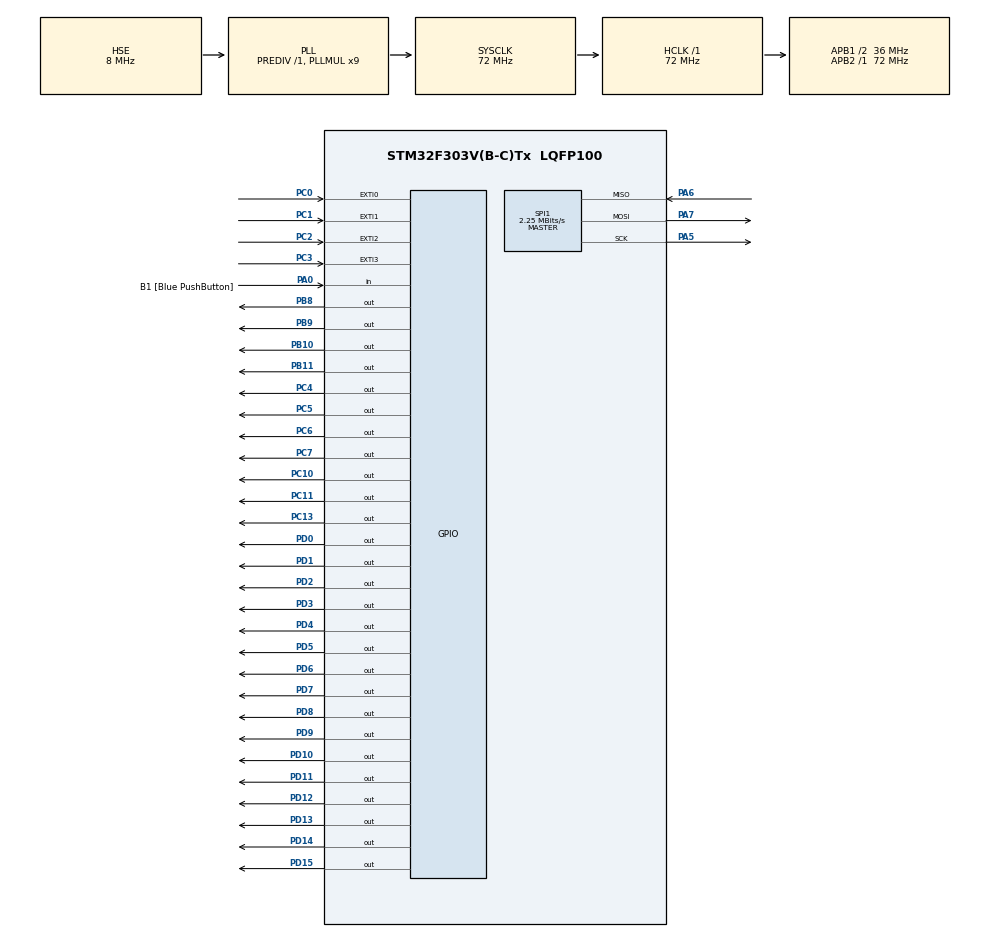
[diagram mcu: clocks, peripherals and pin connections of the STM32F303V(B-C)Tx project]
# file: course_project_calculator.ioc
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Mcu.Family=STM32F3
Mcu.Name=STM32F303V(B-C)Tx
Mcu.Package=LQFP100
NVIC.PriorityGroup=NVIC_PRIORITYGROUP_0
PA0.GPIO_Label=B1 [Blue PushButton]
PA0.Signal=GPIO_Input
PA13.GPIO_Label=SWDIO
PA13.Mode=Serial_Wire
PA13.Signal=SYS_JTMS-SWDIO
PA14.GPIO_Label=SWCLK
PA14.Mode=Serial_Wire
PA14.Signal=SYS_JTCK-SWCLK
PA5.Mode=Full_Duplex_Master
PA5.Signal=SPI1_SCK
PA6.Mode=Full_Duplex_Master
PA6.Signal=SPI1_MISO
PA7.Mode=Full_Duplex_Master
PA7.Signal=SPI1_MOSI
PB10.GPIO_Speed=GPIO_SPEED_FREQ_HIGH
PB10.PinState=GPIO_PIN_SET
PB10.Signal=GPIO_Output
PB11.GPIO_Speed=GPIO_SPEED_FREQ_HIGH
PB11.PinState=GPIO_PIN_SET
PB11.Signal=GPIO_Output
PB8.GPIO_Speed=GPIO_SPEED_FREQ_HIGH
PB8.PinState=GPIO_PIN_SET
PB8.Signal=GPIO_Output
PB9.GPIO_Speed=GPIO_SPEED_FREQ_HIGH
PB9.PinState=GPIO_PIN_SET
PB9.Signal=GPIO_Output
PC0.Signal=GPXTI0
PC1.Signal=GPXTI1
PC10.GPIO_ModeDefaultOutputPP=GPIO_MODE_OUTPUT_OD
PC10.GPIO_PuPd=GPIO_PULLUP
PC10.GPIO_Speed=GPIO_SPEED_FREQ_HIGH
PC10.PinState=GPIO_PIN_SET
PC10.Signal=GPIO_Output
PC11.GPIO_ModeDefaultOutputPP=GPIO_MODE_OUTPUT_OD
PC11.GPIO_PuPd=GPIO_PULLUP
PC11.GPIO_Speed=GPIO_SPEED_FREQ_HIGH
PC11.PinState=GPIO_PIN_SET
PC11.Signal=GPIO_Output
PC13.GPIO_ModeDefaultOutputPP=GPIO_MODE_OUTPUT_OD
PC13.GPIO_PuPd=GPIO_PULLUP
PC13.GPIO_Speed=GPIO_SPEED_FREQ_LOW
PC13.PinState=GPIO_PIN_SET
PC13.Signal=GPIO_Output
PC2.Signal=GPXTI2
PC3.Signal=GPXTI3
PC4.GPIO_Speed=GPIO_SPEED_FREQ_HIGH
PC4.PinState=GPIO_PIN_SET
PC4.Signal=GPIO_Output
PC5.GPIO_Speed=GPIO_SPEED_FREQ_HIGH
PC5.PinState=GPIO_PIN_SET
PC5.Signal=GPIO_Output
PC6.Signal=GPIO_Output
PC7.Signal=GPIO_Output
PD0.GPIO_Speed=GPIO_SPEED_FREQ_HIGH
PD0.PinState=GPIO_PIN_SET
PD0.Signal=GPIO_Output
PD1.GPIO_Speed=GPIO_SPEED_FREQ_HIGH
PD1.PinState=GPIO_PIN_SET
PD1.Signal=GPIO_Output
PD10.GPIO_Speed=GPIO_SPEED_FREQ_HIGH
PD10.PinState=GPIO_PIN_SET
PD10.Signal=GPIO_Output
PD11.GPIO_Speed=GPIO_SPEED_FREQ_HIGH
PD11.PinState=GPIO_PIN_SET
PD11.Signal=GPIO_Output
PD12.GPIO_Speed=GPIO_SPEED_FREQ_HIGH
PD12.PinState=GPIO_PIN_SET
PD12.Signal=GPIO_Output
PD13.Signal=GPIO_Output
PD14.Signal=GPIO_Output
PD15.Signal=GPIO_Output
PD2.GPIO_Speed=GPIO_SPEED_FREQ_HIGH
PD2.PinState=GPIO_PIN_SET
PD2.Signal=GPIO_Output
PD3.GPIO_Speed=GPIO_SPEED_FREQ_HIGH
PD3.PinState=GPIO_PIN_SET
PD3.Signal=GPIO_Output
PD4.GPIO_Speed=GPIO_SPEED_FREQ_HIGH
PD4.PinState=GPIO_PIN_SET
PD4.Signal=GPIO_Output
PD5.GPIO_Speed=GPIO_SPEED_FREQ_HIGH
PD5.PinState=GPIO_PIN_SET
PD5.Signal=GPIO_Output
PD6.GPIO_Speed=GPIO_SPEED_FREQ_HIGH
PD6.PinState=GPIO_PIN_SET
PD6.Signal=GPIO_Output
PD7.GPIO_Speed=GPIO_SPEED_FREQ_HIGH
PD7.PinState=GPIO_PIN_SET
PD7.Signal=GPIO_Output
PD8.GPIO_Speed=GPIO_SPEED_FREQ_HIGH
PD8.PinState=GPIO_PIN_SET
PD8.Signal=GPIO_Output
PD9.GPIO_Speed=GPIO_SPEED_FREQ_HIGH
PD9.PinState=GPIO_PIN_SET
PD9.Signal=GPIO_Output
PF0-OSC_IN.GPIO_Label=OSC_IN
PF0-OSC_IN.Mode=HSE-External-Clock-Source
PF0-OSC_IN.Signal=RCC_OSC_IN
ProjectManager.HeapSize=0x200
ProjectManager.StackSize=0x400
ProjectManager.TargetToolchain=STM32CubeIDE
RCC.AHBFreq_Value=72000000
RCC.APB1CLKDivider=RCC_HCLK_DIV2
RCC.APB1Freq_Value=36000000
RCC.APB1TimFreq_Value=72000000
RCC.APB2Freq_Value=72000000
RCC.APB2TimFreq_Value=72000000
RCC.CortexFreq_Value=72000000
RCC.HCLKFreq_Value=72000000
RCC.HSE_VALUE=8000000
RCC.HSI_VALUE=8000000
RCC.LSE_VALUE=32768
RCC.PLLMUL=RCC_PLL_MUL9
RCC.PLLSourceVirtual=RCC_PLLSOURCE_HSE
RCC.SYSCLKFreq_VALUE=72000000
RCC.SYSCLKSourceVirtual=RCC_SYSCLKSOURCE_PLLCLK
RCC.USBFreq_Value=72000000
SPI1.BaudRatePrescaler=SPI_BAUDRATEPRESCALER_32
SPI1.CalculateBaudRate=2.25 MBits/s
SPI1.DataSize=SPI_DATASIZE_8BIT
SPI1.Direction=SPI_DIRECTION_2LINES
SPI1.Mode=SPI_MODE_MASTER
SPI1.VirtualType=VM_MASTER
VP_RTC_VS_RTC_Activate.Mode=RTC_Enabled
board=STM32F3DISCOVERY

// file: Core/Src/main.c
/* USER CODE BEGIN Header */
/**
 ******************************************************************************
 * @file           : main.c
 * @brief          : Main program body
 ******************************************************************************
 * @attention
 *
 * <h2><center>&copy; Copyright (c) 2021 STMicroelectronics.
 * All rights reserved.</center></h2>
 *
 * This software component is licensed by ST under BSD 3-Clause license,
 * the "License"; You may not use this file except in compliance with the
 * License. You may obtain a copy of the License at:
 *                        opensource.org/licenses/BSD-3-Clause
 *
 ******************************************************************************
 */
/* USER CODE END Header */
#include "main.h"
#include "rtc.h"
#include "spi.h"
#include "gpio.h"

/* USER CODE BEGIN Includes */
#include "lcd_ili93xx_driver.h"
#include "open32f3_lcd_utils.h"
#include "open32f3_lcd_touch_utils.h"

#include "stdio.h"
#include "stdlib.h"
#include "stdbool.h"
#include "math.h"

#include "lvgl.h"
/* USER CODE END Includes */

/* USER CODE BEGIN PTD */

void HAL_GPIO_EXTI_Callback(uint16_t GPIO_Pin) {

}

typedef struct {
	lcd_ili93xx_driver_t *lcd_driver;
	lcd_xpt2046_driver_t *touch_driver;

	// Данные для привязки LVGL к дисплею
	size_t buf_size;
	lv_color_t *buf;
	lv_disp_buf_t disp_buf;
	lv_disp_drv_t disp_driver;
	// Объект дисплея LVGL
	lv_disp_t *disp;

	// Данные для привязки LVGL к touch сенсору
	lv_indev_drv_t indev_drv;
	lv_indev_t *indev;
	int16_t last_x_position;
	int16_t last_y_position;

// Любые пользовательские данные для пересчета данных touch сенсора в координаты дисплея.
// Если у вас нет подобных структур, можно удалить данное поле.
//    void *app_touch_data;
} app_open32f3_lvgl_driver_t;

/**
 * Колбек для передачи отрисованного интерфейса на дисплей.
 *
 * LVGL сам вызовет его, когда ему понадобиться передать данные на дисплей.
 */
static void app_open32f3_lvgl_display_flush_cb(lv_disp_drv_t *disp_drv,
		const lv_area_t *area, lv_color_t *color_p) {
	// получить app_open32f3_lvgl_driver_t объект
	app_open32f3_lvgl_driver_t *lvgl_data = disp_drv->user_data;
	// передать изображение на экран
	lcd_ili93xx_fill_area(lvgl_data->lcd_driver, area->x1, area->y1, area->x2,
			area->y2, (uint16_t*) color_p);
	// оповестить LVGL, что передача изображения на экран закончена
	lv_disp_flush_ready(disp_drv);
}

int calculate_touch_position(int x1, int x2, int x3) {
	return (x1 + x2 + x3) / 3;
}
/**
 * Колбек для получения текущих координат касания от сенсорного дисплей.
 *
 * LVGL сам вызовет его, когда ему понадобиться считать данные ввода.
 */
static bool app_open32f3_lvgl_display_touch_sensor_read_cb(
		lv_indev_drv_t *disp_drv, lv_indev_data_t *data) {
	// получить app_open32f3_lvgl_driver_t объект
	app_open32f3_lvgl_driver_t *lvgl_data = disp_drv->user_data;

	int touch_x = 0;
	int touch_y = 0;
	int touch_flag = 0;
	lcd_xpt2046_driver_t *touch_driver = lvgl_data->touch_driver;

	int x1, y1, z11, z21, x2, y2, z12, z22, x3, y3, z13, z23,
		Z1disp = 0, Z2disp = 0;

	lcd_xpt2046_measure(touch_driver, XPT2046_CMD_MEASURE_X, &x1);
	lcd_xpt2046_measure(touch_driver, XPT2046_CMD_MEASURE_Y, &y1);
	lcd_xpt2046_measure(touch_driver, XPT2046_CMD_MEASURE_Z1, &z11);
	lcd_xpt2046_measure(touch_driver, XPT2046_CMD_MEASURE_Z2, &z21);
	lcd_xpt2046_measure(touch_driver, XPT2046_CMD_MEASURE_X, &x2);
	lcd_xpt2046_measure(touch_driver, XPT2046_CMD_MEASURE_Y, &y2);
	lcd_xpt2046_measure(touch_driver, XPT2046_CMD_MEASURE_Z1, &z12);
	lcd_xpt2046_measure(touch_driver, XPT2046_CMD_MEASURE_Z2, &z22);
	lcd_xpt2046_measure(touch_driver, XPT2046_CMD_MEASURE_X, &x3);
	lcd_xpt2046_measure(touch_driver, XPT2046_CMD_MEASURE_Y, &y3);
	lcd_xpt2046_measure(touch_driver, XPT2046_CMD_MEASURE_Z1, &z13);
	lcd_xpt2046_measure(touch_driver, XPT2046_CMD_MEASURE_Z2, &z23);

	Z1disp = calculate_touch_position(z11, z12, z13);
	Z2disp = calculate_touch_position(z21, z22, z23);

	if (abs(Z1disp - Z2disp) < 3800) {				//ЕСТЬ

		touch_x = calculate_touch_position(x1, x2, x3);
		touch_y = calculate_touch_position(y1, y2, y3);
		touch_x = 0.062 * touch_x ;
		touch_y = 0.084 * touch_y ;
		if (touch_x <= 0) {
			touch_x = 0;
		}
		if (touch_x >= 240 ) {
			touch_x = 240 ;
		}
		if (touch_y <= 0) {
			touch_y = 0;
		}
		if (touch_y >= 320 ) {
			touch_y = 320 ;
		}
		touch_flag = 1;
	}

	// обработка логики устройства ввода в соответствии с LVGL
	if (touch_flag) {
		lvgl_data->last_x_position = touch_x;
		lvgl_data->last_y_position = touch_y;
	}
	data->point.x = lvgl_data->last_x_position;
	data->point.y = lvgl_data->last_y_position;
	if (touch_flag) {
		// касание дисплея обнаружено
		data->state = LV_INDEV_STATE_PR;
	} else {
		// касание дисплея не обнаружено
		data->state = LV_INDEV_STATE_REL;
	}
	return false;
}

/**
 * Функция инициализации дисплея для LVGL.
 *
 * @param lcd_driver инициализированный драйвер дисплея
 * @param touch_driver инициализированный драйвер touch сенсора
 * @param lvgl_data неинициализированные объект app_open32f3_lvgl_driver_t
 * @return 0 в случае успеха, иначе не нулевое значение
 */
int app_open32f3_lvgl_init(app_open32f3_lvgl_driver_t *lvgl_data,
		lcd_ili93xx_driver_t *lcd_driver, lcd_xpt2046_driver_t *touch_driver) {
	int err;

	//
	// Шаг 1. Базовая инициализация LVGL
	//
	lv_init();

	// базовая инициализация lvgl_data
	lvgl_data->lcd_driver = lcd_driver;
	lvgl_data->touch_driver = touch_driver;

	//
	// Шаг 2. Подключение дисплея
	//

	// получить ширину и высоту дисплея
	int16_t width;
	int16_t height;
	err = lcd_ili93xx_get_width(lcd_driver, &width);
	if (err) {
		return err;
	}
	err = lcd_ili93xx_get_height(lcd_driver, &height);
	if (err) {
		return err;
	}

	// Шаг 2.1. �?нициализация буфера отрисовки кадра
	lvgl_data->buf_size = width * 20;
	lvgl_data->buf = malloc(sizeof(lv_color_t) * lvgl_data->buf_size);
	lv_disp_buf_init(&lvgl_data->disp_buf, lvgl_data->buf, NULL, lvgl_data->buf_size);
	// Шаг 2.2. Регистрация дисплея
	lv_disp_drv_init(&lvgl_data->disp_driver);
	lvgl_data->disp_driver.hor_res = width;
	lvgl_data->disp_driver.ver_res = height;
	lvgl_data->disp_driver.buffer = &lvgl_data->disp_buf;
	lvgl_data->disp_driver.user_data = lvgl_data;
	lvgl_data->disp_driver.flush_cb = app_open32f3_lvgl_display_flush_cb;
	lvgl_data->disp = lv_disp_drv_register(&lvgl_data->disp_driver);
	if (lvgl_data->disp == NULL) {
		return -1;
	}

	//
	// Шаг 3. �?нициализация устройства ввода
	//
	lv_indev_drv_init(&lvgl_data->indev_drv);
	// Будем использовать устройство тип "POINTER"
	lvgl_data->indev_drv.type = LV_INDEV_TYPE_POINTER;
	lvgl_data->last_x_position = 0;
	lvgl_data->last_y_position = 0;
	lvgl_data->indev_drv.user_data = lvgl_data;
	lvgl_data->indev_drv.disp = lvgl_data->disp;

	// Регистрация устройства ввода
	lvgl_data->indev_drv.read_cb =
			app_open32f3_lvgl_display_touch_sensor_read_cb;
	lvgl_data->indev = lv_indev_drv_register(&lvgl_data->indev_drv);
	if (lvgl_data->indev == NULL) {
		return -1;
	}

	return 0;
}

static const char * btnm_map[] = {"AC", "MRC", "M-", "M+", "\n",
								  "7", "8", "9", "+", "\n",
                                  "4", "5", "6", "-", "\n",
								  "1", "2", "3", "*", "\n",
								  "0", ".", "=", "/", ""
                                 };

typedef struct {
	lv_style_t btn_style;
	lv_style_t kbd_style;
	lv_style_t inp_style;

	lv_obj_t* text_main;
	lv_obj_t* text_history;
	lv_obj_t* text_mem;
	lv_obj_t* btnm;

} app_scene_t;

app_scene_t app_scene;

static const short int MAX_LENGTH = 24;
static const float MIN_SCIENTIFIC_NUMBER = 1000000000.f;
//static const uint32_t MEM_ADDR = 0x08031F9C;

static short FLAGS = 0;

typedef enum {
	PLUS = 43,
	MINUS = 45,
	MUL = 42,
	DIV = 47,
	NONE = 0
} e_function;

typedef enum {
	SQ_FUN = 0,
	SQ_EQ,
	MEM_SAVE,
	ERR
} e_flags;

float read_mem()
{
	uint32_t value = HAL_RTCEx_BKUPRead(&hrtc, RTC_BKP_DR0);
	float fvalue = .0f;
	memcpy(&fvalue, &value, sizeof fvalue);
	//memcpy(&fvalue, MEM_ADDR, sizeof fvalue);
	return fvalue;
}

void write_mem(float num)
{
	HAL_PWR_EnableBkUpAccess();

	uint32_t fbits = 0;
	memcpy(&fbits, &num, sizeof fbits);
	HAL_RTCEx_BKUPWrite(&hrtc, RTC_BKP_DR0, fbits);

	HAL_PWR_DisableBkUpAccess();

	/*HAL_FLASH_Unlock();

	FLASH_EraseInitTypeDef ef;
	HAL_StatusTypeDef stat;
	ef.TypeErase = FLASH_TYPEERASE_PAGES;
	ef.PageAddress = MEM_ADDR;
	ef.NbPages = 1;
	uint32_t tmp;
	HAL_FLASHEx_Erase(&ef, &tmp);

	stat = HAL_FLASH_Program(FLASH_TYPEPROGRAM_WORD, MEM_ADDR, fbits);

	if (stat != HAL_OK)
	{
		set_flag(ERR, true);
		lv_textarea_set_text(app_scene.text_main, "ERROR: Write memory fail!");
	}

	HAL_FLASH_Lock();*/
}

bool is_char_contain(char ch, const char* str)
{
	for (int i = 0; i < strlen(str); i++)
		if (str[i] == ch)
			return true;
	return false;
}

const char* save_display(const char *text_on_disp, e_function fun) {
	char f[2] = " \0";
	f[0] = (char) fun;

	//lv_textarea_set_text(app_scene.text_main, "");
	if (strlen(text_on_disp) == 0)
	{
		char res[5] = "0.0 \0";
		res[3] = (char) fun;
		lv_textarea_set_text(app_scene.text_history, res);
		return "0";
	}
	else
	{
		lv_textarea_set_text(app_scene.text_history, strcat(strdup(text_on_disp), f));
		return text_on_disp;
	}

}

bool float_equal(float a, float b, float epsilon)
{
	return fabs(a - b) < epsilon;
}

void format_result(char* buf, float res)
{
	if (res < MIN_SCIENTIFIC_NUMBER)
		sprintf(buf, "%.5f", res);
	else
		sprintf(buf, "%G", res);
}

static inline short get_flag(e_flags bit)
{
	return (FLAGS >> bit) & 0b1;
}

void set_flag(e_flags bit, bool value)
{
	if (value)
		FLAGS |= 0b1 << bit;
	else
		FLAGS &= ~(0b1 << bit);
}

const char* eval(const char* left, const char* right, e_function fun)
{
	float left_f = atof(left);
	float right_f = atof(right);
	char buf[MAX_LENGTH];
	switch(fun)
	{
		case PLUS:
			format_result(buf, left_f + right_f);
			break;
		case MINUS:
			format_result(buf, left_f - right_f);
			break;
		case MUL:
			format_result(buf, left_f * right_f);
			break;
		case DIV:
			if (float_equal(0.f, right_f, 0.00000001f))
			{
				set_flag(ERR, true);
				strcpy(buf, "ERROR: Division by 0");
			}
			else
				format_result(buf, left_f / right_f);
			break;
		case NONE:
			strcpy(buf, right);
			break;
	}

	return strdup(buf);
}

void all_clear(e_function* fun, char **first_arg, char** text_main) {
	//free(*first_arg);
	//free(*text_main);
	lv_textarea_set_text(app_scene.text_main, "");
	lv_textarea_set_text(app_scene.text_history, "");
	//(*first_arg) = "";
	(*fun) = NONE;
}

void fun_execute(const char** first_arg, const  char* text_on_disp, e_function* fun, e_function current_operation)
{
	if (get_flag(SQ_FUN))
	{
		text_on_disp = eval(*first_arg, text_on_disp, *fun);
	}
	set_flag(SQ_FUN, true);
	set_flag(SQ_EQ, false);
	*fun = current_operation;
	*first_arg = save_display(text_on_disp, *fun);
	lv_textarea_set_text(app_scene.text_main, "");
}

void memory_operation(const char* text_on_disp, e_function operation)
{
	if (!get_flag(MEM_SAVE))
	{
		if (operation == PLUS)
			write_mem(atof(text_on_disp));
		else
			write_mem(-atof(text_on_disp));
		lv_label_set_text(app_scene.text_mem, "M");
		set_flag(MEM_SAVE, true);
	}
	else
	{
		if (operation == PLUS)
			write_mem(read_mem() + atof(text_on_disp));
		else
			write_mem(read_mem() - atof(text_on_disp));

		if (float_equal(read_mem(), 0.f, 0.0000001))
		{
			lv_label_set_text(app_scene.text_mem, "");
			set_flag(MEM_SAVE, false);
		}
	}
}

static void keyboard_event_handler(lv_obj_t * obj, lv_event_t event)
{
    if(event == LV_EVENT_VALUE_CHANGED) {
        uint16_t id = lv_btnmatrix_get_active_btn(obj);
        static uint16_t prev_id = 0;
        static char* first_arg;
        // 0 bit - sequence of functions
        // 1 bit - sequence of equality
        // 2 bit - memory first save
        // 3 bit - MRC toggle
        // 4 bit - error state
        static e_function fun = NONE;
        const char* txt = lv_btnmatrix_get_active_btn_text(obj);
        const char* text_on_disp = strdup(lv_textarea_get_text(app_scene.text_main));
        //float mem_value;
        //float dsp_value;
        /*
         * 	AC_0	MRC_1	M-_2	M+_3
         * 	7_4		8_5		9_6		+_7
         * 	4_8		5_9		6_10	-_11
         * 	1_12	2_13	3_14	*_15
         * 	0_16	._17	=_18	/_19
         *
         */
        if (get_flag(ERR))
        {
        	set_flag(ERR, false);
			all_clear(&fun, &first_arg, &text_on_disp);
        }

        switch (id)
        {
        	case 0: // AC
        		all_clear(&fun, &first_arg, &text_on_disp);
        		break;
        	case 1: // MRC
        		if (get_flag(MEM_SAVE) && prev_id == id)
        		{
        			set_flag(MEM_SAVE, false);
        			write_mem(.0f);
        			lv_label_set_text(app_scene.text_mem, "");
        		}
        		else if (get_flag(MEM_SAVE))
        		{
        			//mem_value = read_mem();
        			//format_result(text_on_disp, mem_value);
        			format_result(text_on_disp, read_mem());
        			lv_textarea_set_text(app_scene.text_main, text_on_disp);
        		}
        		break;
        	case 2: // M-
        		memory_operation(text_on_disp, MINUS);
        		break;
        	case 3: // M+
        		memory_operation(text_on_disp, PLUS);
        		break;

        	case 7: // +
        		fun_execute(&first_arg, text_on_disp, &fun, PLUS);
        		break;
        	case 11: // -
        		fun_execute(&first_arg, text_on_disp, &fun, MINUS);
        		break;
        	case 15: // *
        		fun_execute(&first_arg, text_on_disp, &fun, MUL);
        		break;
        	case 19: // /
        		fun_execute(&first_arg, text_on_disp, &fun, DIV);
        		break;

        	case 17: // .
        		if (strlen(text_on_disp) == 0)
        			lv_textarea_set_text(app_scene.text_main, "0.");
        		else if (!is_char_contain('.', text_on_disp))
        			lv_textarea_add_text(app_scene.text_main, txt);
        	    break;

        	case 18: // =
        		if (get_flag(SQ_FUN))
        		{
        			lv_textarea_set_text(app_scene.text_main, eval(first_arg, text_on_disp, fun));
        			if (fun != MUL)
						first_arg = strdup(text_on_disp);
        			save_display(first_arg, fun);
            		set_flag(SQ_FUN, false);
            		set_flag(SQ_EQ, true);
        		}
        		else if (get_flag(SQ_EQ))
				{
        			if (fun == MUL)
        				lv_textarea_set_text(app_scene.text_main, eval(first_arg, text_on_disp, fun));
        			else
        				lv_textarea_set_text(app_scene.text_main, eval(text_on_disp, first_arg, fun));
				}
        		break;

        	case 4:
        	case 5:
        	case 6:
        	case 8:
        	case 9:
        	case 10:
        	case 12:
        	case 13:
        	case 14:
        	case 16:
        		lv_textarea_add_text(app_scene.text_main, txt);
        		break;
        }
        prev_id = id;
        //free(text_on_disp);
    }
}

/**
 * Создание и настройка виджетов интерфейса
 *
 * @param app_scene неинициализированный объект app_scene_t
 * @param scr объект экрана
 * @return 0 в случае успеха, иначе не нулевое значение
 */
int app_scene_init(app_scene_t *app_scene, lv_obj_t *screen) {

	//docs.lvgl.io/7.11/overview/style.html
	lv_obj_set_style_local_bg_color(screen, LV_OBJ_PART_MAIN, LV_STATE_DEFAULT, LV_COLOR_PURPLE);
	lv_style_init(&app_scene->btn_style);
	lv_style_init(&app_scene->kbd_style);
	lv_style_init(&app_scene->inp_style);

	// Стили кнопок клавиатуры
	lv_style_set_bg_color(&app_scene->btn_style, LV_STATE_DEFAULT, lv_color_hex(0xf777f7));
	lv_style_set_bg_color(&app_scene->btn_style, LV_STATE_PRESSED, lv_color_hex(0xedcaed));
	lv_style_set_text_font(&app_scene->btn_style, LV_STATE_DEFAULT, LV_THEME_DEFAULT_FONT_TITLE);
	lv_style_set_text_font(&app_scene->btn_style, LV_STATE_PRESSED, LV_THEME_DEFAULT_FONT_TITLE);

	// Стиль клавиатуры
	lv_style_set_bg_color(&app_scene->kbd_style, LV_STATE_DEFAULT, LV_COLOR_PURPLE);
	lv_style_set_bg_color(&app_scene->kbd_style, LV_STATE_PRESSED, LV_COLOR_PURPLE);
	lv_style_set_bg_color(&app_scene->kbd_style, LV_STATE_FOCUSED, LV_COLOR_PURPLE);
	lv_style_set_border_width(&app_scene->kbd_style, LV_STATE_DEFAULT, 0);
	lv_style_set_border_width(&app_scene->kbd_style, LV_STATE_FOCUSED, 0);

	// Стиль клавиатуры
	lv_style_set_bg_color(&app_scene->inp_style, LV_STATE_DEFAULT, lv_color_hex(0xf777f7));
	lv_style_set_bg_color(&app_scene->inp_style, LV_STATE_PRESSED, lv_color_hex(0xf777f7));
	lv_style_set_bg_color(&app_scene->inp_style, LV_STATE_FOCUSED, lv_color_hex(0xf777f7));
	lv_style_set_border_width(&app_scene->inp_style, LV_STATE_DEFAULT, 0);
	lv_style_set_border_width(&app_scene->inp_style, LV_STATE_FOCUSED, 0);
	lv_style_set_clip_corner(&app_scene->inp_style, LV_STATE_DEFAULT, false);

	//https://docs.lvgl.io/7.11/widgets/btnmatrix.html
	// �?нициализация кнопок
	app_scene->btnm = lv_btnmatrix_create(screen, NULL);
    lv_btnmatrix_set_map(app_scene->btnm, btnm_map);
    lv_obj_set_size(app_scene->btnm, 240, 240);
    lv_obj_add_style(app_scene->btnm, LV_BTNMATRIX_PART_BTN, &app_scene->btn_style);
    lv_obj_add_style(app_scene->btnm, LV_BTNMATRIX_PART_BG, &app_scene->kbd_style);
    lv_obj_align(app_scene->btnm, NULL, LV_ALIGN_IN_BOTTOM_MID, 0, 0);
    lv_obj_set_event_cb(app_scene->btnm, keyboard_event_handler);

    //https://docs.lvgl.io/master/widgets/textarea.html
    // �?нициализация текста
    app_scene->text_history = lv_textarea_create(screen, NULL);
    lv_textarea_set_one_line(app_scene->text_history, true);
    lv_obj_set_size(app_scene->text_history, 230, 15);
    lv_textarea_set_text(app_scene->text_history, "");
    lv_textarea_set_cursor_hidden(app_scene->text_history, true);
    lv_obj_align(app_scene->text_history, NULL, LV_ALIGN_IN_TOP_LEFT, 5, 5);
    lv_obj_add_style(app_scene->text_history, LV_TEXTAREA_PART_BG, &app_scene->inp_style);
    lv_textarea_set_text_align(app_scene->text_history, LV_LABEL_ALIGN_RIGHT);

    app_scene->text_main = lv_textarea_create(screen, NULL);
    lv_textarea_set_max_length(app_scene->text_main, MAX_LENGTH);
    lv_textarea_set_one_line(app_scene->text_main, true);
    lv_obj_set_size(app_scene->text_main, 230, 30);
    lv_textarea_set_text(app_scene->text_main, "");
    lv_textarea_set_cursor_hidden(app_scene->text_main, true);
    lv_obj_align(app_scene->text_main, app_scene->text_history, LV_ALIGN_OUT_BOTTOM_LEFT, 0, 0);
    lv_obj_add_style(app_scene->text_main, LV_TEXTAREA_PART_BG, &app_scene->inp_style);
    lv_textarea_set_text_align(app_scene->text_main, LV_LABEL_ALIGN_RIGHT);

    //Проверка памяти
    float mem_val = read_mem();

    app_scene->text_mem = lv_label_create(screen, NULL);
    lv_label_set_recolor(app_scene->text_mem, true);
    lv_label_set_align(app_scene->text_mem, LV_LABEL_ALIGN_LEFT);
    lv_obj_set_width(app_scene->text_mem, 50);
    lv_obj_align(app_scene->text_mem, NULL, LV_ALIGN_IN_TOP_LEFT, 5, 5);
    if (!float_equal(0.f, mem_val, 0.0000001f))
    {
    	set_flag(MEM_SAVE, true);
    	lv_label_set_text(app_scene->text_mem, "M");
    }
    else
    {
    	lv_label_set_text(app_scene->text_mem, "");
    }

	return 0;
}

/* USER CODE END PTD */

/* USER CODE BEGIN PV */

/**
 * GNUC specific stdout/stderr hooks.
 *
 * @note: other compilers have other stdout/stderr hooks.
 */
#ifndef __GNUC__
#error Unknown compilator
#else
/*#include <unistd.h>
int _write(int fd, const void *buf, size_t count) {
	int res = 0;
	if (fd == STDOUT_FILENO || fd == STDERR_FILENO) {
		// write data to UART
		HAL_StatusTypeDef hal_res = HAL_UART_Transmit(&huart2, (uint8_t*) buf,
				count, HAL_MAX_DELAY);
		res = hal_res == HAL_OK ? count : -1;
	} else {
		res = -1;
	}
	return res;
}*/
#endif
/* USER CODE END PV */

void SystemClock_Config(void);
/* USER CODE BEGIN PFP */
static int app_lcd_touch_callback(void *user_data, uint8_t *out_buf,
		uint8_t *in_buf, size_t size) {
	// у�?тановить CS линию в 0 дл�? начала приема/передачи
	HAL_GPIO_WritePin(GPIOC, GPIO_PIN_13, GPIO_PIN_RESET);
	// передать/прин�?ть данные
	HAL_StatusTypeDef status = HAL_SPI_TransmitReceive(&hspi1, out_buf, in_buf,
			size, HAL_MAX_DELAY);
	// у�?тановить CS линию в 1 дл�? конца приема/передачи
	HAL_GPIO_WritePin(GPIOC, GPIO_PIN_13, GPIO_PIN_SET);
	return status == HAL_OK ? 0 : -1;
}

void init_lcd_driver(lcd_ili93xx_driver_t *lcd_driver) {
	lcd_ili93xx_init_clear(&*lcd_driver);
	lcd_driver->user_data = NULL;
	lcd_driver->read_reg = app_lcd_read_reagister;
	lcd_driver->write_reg = app_lcd_write_register;
	lcd_driver->write_words = app_lcd_write_words;
	lcd_driver->reset = open32f3_lcd_reset;
	lcd_driver->delay = open32f3_lcd_delay;
	int err = lcd_ili93xx_init(&*lcd_driver);
	if (err) {
		printf("ERROR: DRIVER %i!\n", err);
	}
}

void init_touch_driver(lcd_xpt2046_driver_t *touch_driver) {
	lcd_xpt2046_init_clear(&*touch_driver);
	touch_driver->user_data = NULL;
	touch_driver->communication_cb = app_lcd_touch_callback;
	int err = lcd_xpt2046_init(&*touch_driver);
	if (err) {
		printf("ERROR: TOUCH DRIVER!\n");
	}
}

/* USER CODE END PFP */

int main(void)
{

  /* MCU Configuration--------------------------------------------------------*/

  /* Reset of all peripherals, Initializes the Flash interface and the Systick. */
  HAL_Init();

  /* Configure the system clock */
  SystemClock_Config();

  /* Initialize all configured peripherals */
  MX_GPIO_Init();
  MX_SPI1_Init();
  MX_RTC_Init();
  /* USER CODE BEGIN 2 */

	lcd_ili93xx_driver_t lcd_driver;
	init_lcd_driver(&lcd_driver);

	lcd_xpt2046_driver_t touch_driver;
	init_touch_driver(&touch_driver);

	app_open32f3_lvgl_driver_t lvgl_driver;
	int err = app_open32f3_lvgl_init(&lvgl_driver, &lcd_driver, &touch_driver);
	if (err) {
		printf("ERROR: TOUCH DRIVER!\n");
	}

	lv_obj_t *screen = lv_disp_get_scr_act(lvgl_driver.disp);
	err = app_scene_init(&app_scene, screen);
	if (err) {
		printf("ERROR: Creating & initialization scene!\n");
	}

  /* USER CODE END 2 */

  /* Infinite loop */
  while (1)
  {
	  lv_task_handler();
  }
}

void SystemClock_Config(void)
{
  RCC_OscInitTypeDef RCC_OscInitStruct = {0};
  RCC_ClkInitTypeDef RCC_ClkInitStruct = {0};
  RCC_PeriphCLKInitTypeDef PeriphClkInit = {0};

  /** Initializes the RCC Oscillators according to the specified parameters
  * in the RCC_OscInitTypeDef structure.
  */
  RCC_OscInitStruct.OscillatorType = RCC_OSCILLATORTYPE_LSI|RCC_OSCILLATORTYPE_HSE;
  RCC_OscInitStruct.HSEState = RCC_HSE_BYPASS;
  RCC_OscInitStruct.HSEPredivValue = RCC_HSE_PREDIV_DIV1;
  RCC_OscInitStruct.HSIState = RCC_HSI_ON;
  RCC_OscInitStruct.LSIState = RCC_LSI_ON;
  RCC_OscInitStruct.PLL.PLLState = RCC_PLL_ON;
  RCC_OscInitStruct.PLL.PLLSource = RCC_PLLSOURCE_HSE;
  RCC_OscInitStruct.PLL.PLLMUL = RCC_PLL_MUL9;
  if (HAL_RCC_OscConfig(&RCC_OscInitStruct) != HAL_OK)
  {
    Error_Handler();
  }
  /** Initializes the CPU, AHB and APB buses clocks
  */
  RCC_ClkInitStruct.ClockType = RCC_CLOCKTYPE_HCLK|RCC_CLOCKTYPE_SYSCLK
                              |RCC_CLOCKTYPE_PCLK1|RCC_CLOCKTYPE_PCLK2;
  RCC_ClkInitStruct.SYSCLKSource = RCC_SYSCLKSOURCE_PLLCLK;
  RCC_ClkInitStruct.AHBCLKDivider = RCC_SYSCLK_DIV1;
  RCC_ClkInitStruct.APB1CLKDivider = RCC_HCLK_DIV2;
  RCC_ClkInitStruct.APB2CLKDivider = RCC_HCLK_DIV1;

  if (HAL_RCC_ClockConfig(&RCC_ClkInitStruct, FLASH_LATENCY_2) != HAL_OK)
  {
    Error_Handler();
  }
  PeriphClkInit.PeriphClockSelection = RCC_PERIPHCLK_RTC;
  PeriphClkInit.RTCClockSelection = RCC_RTCCLKSOURCE_LSI;
  if (HAL_RCCEx_PeriphCLKConfig(&PeriphClkInit) != HAL_OK)
  {
    Error_Handler();
  }
}

void Error_Handler(void)
{
}

/************************ (C) COPYRIGHT STMicroelectronics *****END OF FILE****/
